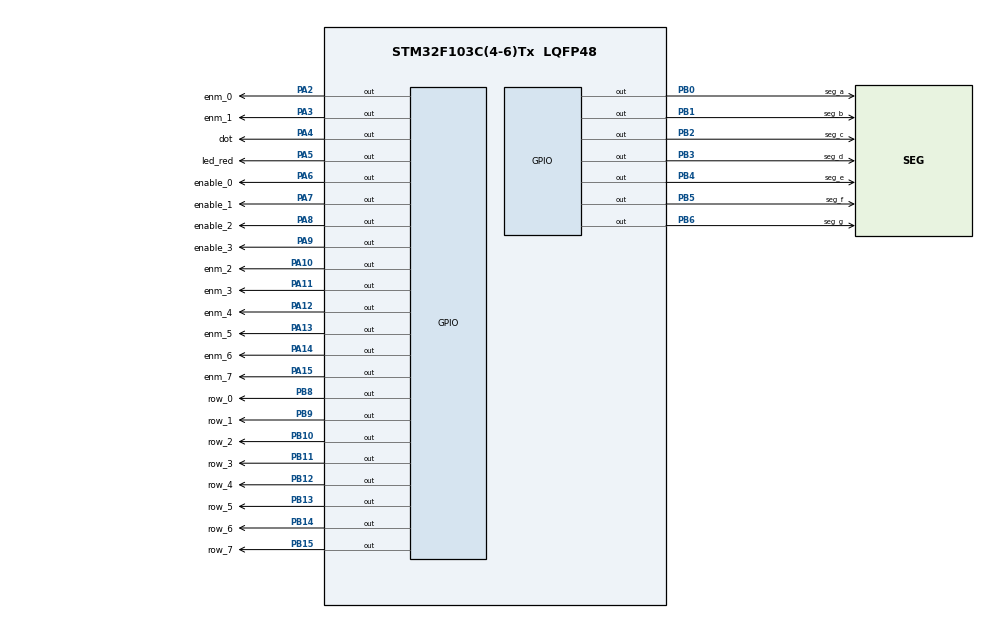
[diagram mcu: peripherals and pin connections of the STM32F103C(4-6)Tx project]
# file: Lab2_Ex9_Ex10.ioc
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Mcu.Family=STM32F1
Mcu.Name=STM32F103C(4-6)Tx
Mcu.Package=LQFP48
NVIC.PriorityGroup=NVIC_PRIORITYGROUP_4
NVIC.TIM2_IRQn=true\:0\:0\:false\:false\:true\:true\:true\:true
PA10.GPIO_Label=enm_2
PA10.Signal=GPIO_Output
PA11.GPIO_Label=enm_3
PA11.Signal=GPIO_Output
PA12.GPIO_Label=enm_4
PA12.Signal=GPIO_Output
PA13.GPIO_Label=enm_5
PA13.Signal=GPIO_Output
PA14.GPIO_Label=enm_6
PA14.Signal=GPIO_Output
PA15.GPIO_Label=enm_7
PA15.Signal=GPIO_Output
PA2.GPIO_Label=enm_0
PA2.Signal=GPIO_Output
PA3.GPIO_Label=enm_1
PA3.Signal=GPIO_Output
PA4.GPIO_Label=dot
PA4.Signal=GPIO_Output
PA5.GPIO_Label=led_red
PA5.Signal=GPIO_Output
PA6.GPIO_Label=enable_0
PA6.Signal=GPIO_Output
PA7.GPIO_Label=enable_1
PA7.Signal=GPIO_Output
PA8.GPIO_Label=enable_2
PA8.Signal=GPIO_Output
PA9.GPIO_Label=enable_3
PA9.Signal=GPIO_Output
PB0.GPIO_Label=seg_a
PB0.Signal=GPIO_Output
PB1.GPIO_Label=seg_b
PB1.Signal=GPIO_Output
PB10.GPIO_Label=row_2
PB10.Signal=GPIO_Output
PB11.GPIO_Label=row_3
PB11.Signal=GPIO_Output
PB12.GPIO_Label=row_4
PB12.Signal=GPIO_Output
PB13.GPIO_Label=row_5
PB13.Signal=GPIO_Output
PB14.GPIO_Label=row_6
PB14.Signal=GPIO_Output
PB15.GPIO_Label=row_7
PB15.Signal=GPIO_Output
PB2.GPIO_Label=seg_c
PB2.Signal=GPIO_Output
PB3.GPIO_Label=seg_d
PB3.Signal=GPIO_Output
PB4.GPIO_Label=seg_e
PB4.Signal=GPIO_Output
PB5.GPIO_Label=seg_f
PB5.Signal=GPIO_Output
PB6.GPIO_Label=seg_g
PB6.Signal=GPIO_Output
PB8.GPIO_Label=row_0
PB8.Signal=GPIO_Output
PB9.GPIO_Label=row_1
PB9.Signal=GPIO_Output
ProjectManager.HeapSize=0x200
ProjectManager.StackSize=0x400
ProjectManager.TargetToolchain=STM32CubeIDE
RCC.APB1Freq_Value=8000000
RCC.APB2Freq_Value=8000000
TIM2.Period=10 - 1
TIM2.Prescaler=8000 - 1
VP_SYS_VS_ND.Mode=No_Debug
VP_TIM2_VS_ClockSourceINT.Mode=Internal
board=custom

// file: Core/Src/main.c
/* USER CODE BEGIN Header */
/**
  ******************************************************************************
  * @file           : main.c
  * @brief          : Main program body
  ******************************************************************************
  * @attention
  *
  * <h2><center>&copy; Copyright (c) 2023 STMicroelectronics.
  * All rights reserved.</center></h2>
  *
  * This software component is licensed by ST under BSD 3-Clause license,
  * the "License"; You may not use this file except in compliance with the
  * License. You may obtain a copy of the License at:
  *                        opensource.org/licenses/BSD-3-Clause
  *
  ******************************************************************************
  */
/* USER CODE END Header */
#include "main.h"

/* USER CODE BEGIN Includes */
#include"software_timer.h"
/* USER CODE END Includes */

TIM_HandleTypeDef htim2;

void SystemClock_Config(void);
static void MX_GPIO_Init(void);
static void MX_TIM2_Init(void);
/* USER CODE BEGIN PFP */

void display7SEG(int num,
		GPIO_TypeDef* a_seg_GPIO_Port, uint16_t a_seg_Pin,
		GPIO_TypeDef* b_seg_GPIO_Port, uint16_t b_seg_Pin,
		GPIO_TypeDef* c_seg_GPIO_Port, uint16_t c_seg_Pin,
		GPIO_TypeDef* d_seg_GPIO_Port, uint16_t d_seg_Pin,
		GPIO_TypeDef* e_seg_GPIO_Port, uint16_t e_seg_Pin,
		GPIO_TypeDef* f_seg_GPIO_Port, uint16_t f_seg_Pin,
		GPIO_TypeDef* g_seg_GPIO_Port, uint16_t g_seg_Pin);

void update7SEG(int num);

void updateClockBuffer(int hour,  int minute, int* led_buffer);

const int MAX_LED_MATRIX = 8;
int index_led_matrix = 0;
uint8_t matrix_buffer[8] = {0x01 , 0x02 , 0x03 , 0x04 , 0x05 , 0x06 , 0x07 , 0x08 };
void updateLEDMatrix (int index);
/* USER CODE END PFP */

int main(void)
{

  /* MCU Configuration--------------------------------------------------------*/

  /* Reset of all peripherals, Initializes the Flash interface and the Systick. */
  HAL_Init();

  /* Configure the system clock */
  SystemClock_Config();

  /* Initialize all configured peripherals */
  MX_GPIO_Init();
  MX_TIM2_Init();
  /* USER CODE BEGIN 2 */
  HAL_TIM_Base_Start_IT(&htim2);
  /* USER CODE END 2 */

  /* Infinite loop */
  /* USER CODE BEGIN WHILE */
  Set_timer(100, 0);
  Set_timer(50, 1);
  Set_timer(10, 2);
  int hour = 24 , minute = 59 , second = 50;
  const int MAX_LED = 4;
  int led_buffer [4] = {1 , 2 , 3 , 4};
  int index_led = 0;
  int index_matrix = 0;
  while (1)
  {
	  if(timer_flag[0] == 1)
	  {
		  Set_timer(100, 0);
		  HAL_GPIO_TogglePin(led_red_GPIO_Port, led_red_Pin);
		  HAL_GPIO_TogglePin(dot_GPIO_Port, dot_Pin);
		  second++;
		  if(second >= 60)
		  {
			  second = 0;
			  minute++;
		  }
		  if(minute >= 60)
		  {
			  minute = 0;
			  hour++;
		  }
		  if(hour >= 24)
		  {
			  hour = 0;
		  }
	  }

	  updateClockBuffer(hour, minute, led_buffer);

	  if(timer_flag[1] == 1)
	  {
		  Set_timer(50, 1);
		  if(index_led >= MAX_LED)
		  {
			  index_led = 0;
		  }
		  switch (index_led)
		  {
			case 0:
				HAL_GPIO_WritePin(enable_0_GPIO_Port, enable_0_Pin, RESET);
				HAL_GPIO_WritePin(enable_1_GPIO_Port, enable_1_Pin, SET);
				HAL_GPIO_WritePin(enable_2_GPIO_Port, enable_2_Pin, SET);
				HAL_GPIO_WritePin(enable_3_GPIO_Port, enable_3_Pin, SET);
				break;
			case 1:
				HAL_GPIO_WritePin(enable_0_GPIO_Port, enable_0_Pin, SET);
				HAL_GPIO_WritePin(enable_1_GPIO_Port, enable_1_Pin, RESET);
				HAL_GPIO_WritePin(enable_2_GPIO_Port, enable_2_Pin, SET);
				HAL_GPIO_WritePin(enable_3_GPIO_Port, enable_3_Pin, SET);
				break;
			case 2:
				HAL_GPIO_WritePin(enable_0_GPIO_Port, enable_0_Pin, SET);
				HAL_GPIO_WritePin(enable_1_GPIO_Port, enable_1_Pin, SET);
				HAL_GPIO_WritePin(enable_2_GPIO_Port, enable_2_Pin, RESET);
				HAL_GPIO_WritePin(enable_3_GPIO_Port, enable_3_Pin, SET);
				break;
			case 3:
				HAL_GPIO_WritePin(enable_0_GPIO_Port, enable_0_Pin, SET);
				HAL_GPIO_WritePin(enable_1_GPIO_Port, enable_1_Pin, SET);
				HAL_GPIO_WritePin(enable_2_GPIO_Port, enable_2_Pin, SET);
				HAL_GPIO_WritePin(enable_3_GPIO_Port, enable_3_Pin, RESET);
				break;
			default:
				break;
		  }

		  display7SEG(led_buffer[index_led],
		  				  seg_a_GPIO_Port, seg_a_Pin,
		  				  seg_b_GPIO_Port, seg_b_Pin,
		  				  seg_c_GPIO_Port, seg_c_Pin,
		  				  seg_d_GPIO_Port, seg_d_Pin,
		  				  seg_e_GPIO_Port, seg_e_Pin,
		  				  seg_f_GPIO_Port, seg_f_Pin,
		  				  seg_g_GPIO_Port, seg_g_Pin);
		  index_led++;
	  }

	  if(timer_flag[2] == 1)
	  {
		  Set_timer(1, 2);
		  updateLEDMatrix(index_matrix);
		  index_matrix++;
		  if(index_matrix >= 8)
		  {
			  index_matrix = 0;
		  }
	  }
//	  updateLEDMatrix(index_matrix);
//	  index_matrix++;
//	  if(index_matrix >= 8)
//	  {
//		  index_matrix = 0;
//	  }
    /* USER CODE END WHILE */

  }
}

void SystemClock_Config(void)
{
  RCC_OscInitTypeDef RCC_OscInitStruct = {0};
  RCC_ClkInitTypeDef RCC_ClkInitStruct = {0};

  /** Initializes the RCC Oscillators according to the specified parameters
  * in the RCC_OscInitTypeDef structure.
  */
  RCC_OscInitStruct.OscillatorType = RCC_OSCILLATORTYPE_HSI;
  RCC_OscInitStruct.HSIState = RCC_HSI_ON;
  RCC_OscInitStruct.HSICalibrationValue = RCC_HSICALIBRATION_DEFAULT;
  RCC_OscInitStruct.PLL.PLLState = RCC_PLL_NONE;
  if (HAL_RCC_OscConfig(&RCC_OscInitStruct) != HAL_OK)
  {
    Error_Handler();
  }

  /** Initializes the CPU, AHB and APB buses clocks
  */
  RCC_ClkInitStruct.ClockType = RCC_CLOCKTYPE_HCLK|RCC_CLOCKTYPE_SYSCLK
                              |RCC_CLOCKTYPE_PCLK1|RCC_CLOCKTYPE_PCLK2;
  RCC_ClkInitStruct.SYSCLKSource = RCC_SYSCLKSOURCE_HSI;
  RCC_ClkInitStruct.AHBCLKDivider = RCC_SYSCLK_DIV1;
  RCC_ClkInitStruct.APB1CLKDivider = RCC_HCLK_DIV1;
  RCC_ClkInitStruct.APB2CLKDivider = RCC_HCLK_DIV1;

  if (HAL_RCC_ClockConfig(&RCC_ClkInitStruct, FLASH_LATENCY_0) != HAL_OK)
  {
    Error_Handler();
  }
}

static void MX_TIM2_Init(void)
{

  TIM_ClockConfigTypeDef sClockSourceConfig = {0};
  TIM_MasterConfigTypeDef sMasterConfig = {0};

  htim2.Instance = TIM2;
  htim2.Init.Prescaler = 8000 - 1;
  htim2.Init.CounterMode = TIM_COUNTERMODE_UP;
  htim2.Init.Period = 10 - 1;
  htim2.Init.ClockDivision = TIM_CLOCKDIVISION_DIV1;
  htim2.Init.AutoReloadPreload = TIM_AUTORELOAD_PRELOAD_DISABLE;
  if (HAL_TIM_Base_Init(&htim2) != HAL_OK)
  {
    Error_Handler();
  }
  sClockSourceConfig.ClockSource = TIM_CLOCKSOURCE_INTERNAL;
  if (HAL_TIM_ConfigClockSource(&htim2, &sClockSourceConfig) != HAL_OK)
  {
    Error_Handler();
  }
  sMasterConfig.MasterOutputTrigger = TIM_TRGO_RESET;
  sMasterConfig.MasterSlaveMode = TIM_MASTERSLAVEMODE_DISABLE;
  if (HAL_TIMEx_MasterConfigSynchronization(&htim2, &sMasterConfig) != HAL_OK)
  {
    Error_Handler();
  }

}

static void MX_GPIO_Init(void)
{
  GPIO_InitTypeDef GPIO_InitStruct = {0};

  /* GPIO Ports Clock Enable */
  __HAL_RCC_GPIOA_CLK_ENABLE();
  __HAL_RCC_GPIOB_CLK_ENABLE();

  /*Configure GPIO pin Output Level */
  HAL_GPIO_WritePin(GPIOA, enm_0_Pin|enm_1_Pin|dot_Pin|led_red_Pin
                          |enable_0_Pin|enable_1_Pin|enable_2_Pin|enable_3_Pin
                          |enm_2_Pin|enm_3_Pin|enm_4_Pin|enm_5_Pin
                          |enm_6_Pin|enm_7_Pin, GPIO_PIN_RESET);

  /*Configure GPIO pin Output Level */
  HAL_GPIO_WritePin(GPIOB, seg_a_Pin|seg_b_Pin|seg_c_Pin|row_2_Pin
                          |row_3_Pin|row_4_Pin|row_5_Pin|row_6_Pin
                          |row_7_Pin|seg_d_Pin|seg_e_Pin|seg_f_Pin
                          |seg_g_Pin|row_0_Pin|row_1_Pin, GPIO_PIN_RESET);

  /*Configure GPIO pins : enm_0_Pin enm_1_Pin dot_Pin led_red_Pin
                           enable_0_Pin enable_1_Pin enable_2_Pin enable_3_Pin
                           enm_2_Pin enm_3_Pin enm_4_Pin enm_5_Pin
                           enm_6_Pin enm_7_Pin */
  GPIO_InitStruct.Pin = enm_0_Pin|enm_1_Pin|dot_Pin|led_red_Pin
                          |enable_0_Pin|enable_1_Pin|enable_2_Pin|enable_3_Pin
                          |enm_2_Pin|enm_3_Pin|enm_4_Pin|enm_5_Pin
                          |enm_6_Pin|enm_7_Pin;
  GPIO_InitStruct.Mode = GPIO_MODE_OUTPUT_PP;
  GPIO_InitStruct.Pull = GPIO_NOPULL;
  GPIO_InitStruct.Speed = GPIO_SPEED_FREQ_LOW;
  HAL_GPIO_Init(GPIOA, &GPIO_InitStruct);

  /*Configure GPIO pins : seg_a_Pin seg_b_Pin seg_c_Pin row_2_Pin
                           row_3_Pin row_4_Pin row_5_Pin row_6_Pin
                           row_7_Pin seg_d_Pin seg_e_Pin seg_f_Pin
                           seg_g_Pin row_0_Pin row_1_Pin */
  GPIO_InitStruct.Pin = seg_a_Pin|seg_b_Pin|seg_c_Pin|row_2_Pin
                          |row_3_Pin|row_4_Pin|row_5_Pin|row_6_Pin
                          |row_7_Pin|seg_d_Pin|seg_e_Pin|seg_f_Pin
                          |seg_g_Pin|row_0_Pin|row_1_Pin;
  GPIO_InitStruct.Mode = GPIO_MODE_OUTPUT_PP;
  GPIO_InitStruct.Pull = GPIO_NOPULL;
  GPIO_InitStruct.Speed = GPIO_SPEED_FREQ_LOW;
  HAL_GPIO_Init(GPIOB, &GPIO_InitStruct);

}

/* USER CODE BEGIN 4 */
void HAL_TIM_PeriodElapsedCallback(TIM_HandleTypeDef *htim)
{
	Run_timer();
}

void display7SEG(int num,
		GPIO_TypeDef* a_seg_GPIO_Port, uint16_t a_seg_Pin,
		GPIO_TypeDef* b_seg_GPIO_Port, uint16_t b_seg_Pin,
		GPIO_TypeDef* c_seg_GPIO_Port, uint16_t c_seg_Pin,
		GPIO_TypeDef* d_seg_GPIO_Port, uint16_t d_seg_Pin,
		GPIO_TypeDef* e_seg_GPIO_Port, uint16_t e_seg_Pin,
		GPIO_TypeDef* f_seg_GPIO_Port, uint16_t f_seg_Pin,
		GPIO_TypeDef* g_seg_GPIO_Port, uint16_t g_seg_Pin)
{
	switch (num) {
		case 0:
			HAL_GPIO_WritePin(a_seg_GPIO_Port, a_seg_Pin, RESET);
			HAL_GPIO_WritePin(b_seg_GPIO_Port, b_seg_Pin, RESET);
			HAL_GPIO_WritePin(c_seg_GPIO_Port, c_seg_Pin, RESET);
			HAL_GPIO_WritePin(d_seg_GPIO_Port, d_seg_Pin, RESET);
			HAL_GPIO_WritePin(e_seg_GPIO_Port, e_seg_Pin, RESET);
			HAL_GPIO_WritePin(f_seg_GPIO_Port, f_seg_Pin, RESET);
			HAL_GPIO_WritePin(g_seg_GPIO_Port, g_seg_Pin, SET);
			break;
		case 1:
			HAL_GPIO_WritePin(a_seg_GPIO_Port, a_seg_Pin, SET);
			HAL_GPIO_WritePin(b_seg_GPIO_Port, b_seg_Pin, RESET);
			HAL_GPIO_WritePin(c_seg_GPIO_Port, c_seg_Pin, RESET);
			HAL_GPIO_WritePin(d_seg_GPIO_Port, d_seg_Pin, SET);
			HAL_GPIO_WritePin(e_seg_GPIO_Port, e_seg_Pin, SET);
			HAL_GPIO_WritePin(f_seg_GPIO_Port, f_seg_Pin, SET);
			HAL_GPIO_WritePin(g_seg_GPIO_Port, g_seg_Pin, SET);
			break;
		case 2:
			HAL_GPIO_WritePin(a_seg_GPIO_Port, a_seg_Pin, RESET);
			HAL_GPIO_WritePin(b_seg_GPIO_Port, b_seg_Pin, RESET);
			HAL_GPIO_WritePin(c_seg_GPIO_Port, c_seg_Pin, SET);
			HAL_GPIO_WritePin(d_seg_GPIO_Port, d_seg_Pin, RESET);
			HAL_GPIO_WritePin(e_seg_GPIO_Port, e_seg_Pin, RESET);
			HAL_GPIO_WritePin(f_seg_GPIO_Port, f_seg_Pin, SET);
			HAL_GPIO_WritePin(g_seg_GPIO_Port, g_seg_Pin, RESET);
			break;
		case 3:
			HAL_GPIO_WritePin(a_seg_GPIO_Port, a_seg_Pin, RESET);
			HAL_GPIO_WritePin(b_seg_GPIO_Port, b_seg_Pin, RESET);
			HAL_GPIO_WritePin(c_seg_GPIO_Port, c_seg_Pin, RESET);
			HAL_GPIO_WritePin(d_seg_GPIO_Port, d_seg_Pin, RESET);
			HAL_GPIO_WritePin(e_seg_GPIO_Port, e_seg_Pin, SET);
			HAL_GPIO_WritePin(f_seg_GPIO_Port, f_seg_Pin, SET);
			HAL_GPIO_WritePin(g_seg_GPIO_Port, g_seg_Pin, RESET);
			break;
		case 4:
			HAL_GPIO_WritePin(a_seg_GPIO_Port, a_seg_Pin, SET);
			HAL_GPIO_WritePin(b_seg_GPIO_Port, b_seg_Pin, RESET);
			HAL_GPIO_WritePin(c_seg_GPIO_Port, c_seg_Pin, RESET);
			HAL_GPIO_WritePin(d_seg_GPIO_Port, d_seg_Pin, SET);
			HAL_GPIO_WritePin(e_seg_GPIO_Port, e_seg_Pin, SET);
			HAL_GPIO_WritePin(f_seg_GPIO_Port, f_seg_Pin, RESET);
			HAL_GPIO_WritePin(g_seg_GPIO_Port, g_seg_Pin, RESET);
			break;
		case 5:
			HAL_GPIO_WritePin(a_seg_GPIO_Port, a_seg_Pin, RESET);
			HAL_GPIO_WritePin(b_seg_GPIO_Port, b_seg_Pin, SET);
			HAL_GPIO_WritePin(c_seg_GPIO_Port, c_seg_Pin, RESET);
			HAL_GPIO_WritePin(d_seg_GPIO_Port, d_seg_Pin, RESET);
			HAL_GPIO_WritePin(e_seg_GPIO_Port, e_seg_Pin, SET);
			HAL_GPIO_WritePin(f_seg_GPIO_Port, f_seg_Pin, RESET);
			HAL_GPIO_WritePin(g_seg_GPIO_Port, g_seg_Pin, RESET);
			break;
		case 6:
			HAL_GPIO_WritePin(a_seg_GPIO_Port, a_seg_Pin, RESET);
			HAL_GPIO_WritePin(b_seg_GPIO_Port, b_seg_Pin, SET);
			HAL_GPIO_WritePin(c_seg_GPIO_Port, c_seg_Pin, RESET);
			HAL_GPIO_WritePin(d_seg_GPIO_Port, d_seg_Pin, RESET);
			HAL_GPIO_WritePin(e_seg_GPIO_Port, e_seg_Pin, RESET);
			HAL_GPIO_WritePin(f_seg_GPIO_Port, f_seg_Pin, RESET);
			HAL_GPIO_WritePin(g_seg_GPIO_Port, g_seg_Pin, RESET);
			break;
		case 7:
			HAL_GPIO_WritePin(a_seg_GPIO_Port, a_seg_Pin, RESET);
			HAL_GPIO_WritePin(b_seg_GPIO_Port, b_seg_Pin, RESET);
			HAL_GPIO_WritePin(c_seg_GPIO_Port, c_seg_Pin, RESET);
			HAL_GPIO_WritePin(d_seg_GPIO_Port, d_seg_Pin, SET);
			HAL_GPIO_WritePin(e_seg_GPIO_Port, e_seg_Pin, SET);
			HAL_GPIO_WritePin(f_seg_GPIO_Port, f_seg_Pin, SET);
			HAL_GPIO_WritePin(g_seg_GPIO_Port, g_seg_Pin, SET);
			break;
		case 8:
			HAL_GPIO_WritePin(a_seg_GPIO_Port, a_seg_Pin, RESET);
			HAL_GPIO_WritePin(b_seg_GPIO_Port, b_seg_Pin, RESET);
			HAL_GPIO_WritePin(c_seg_GPIO_Port, c_seg_Pin, RESET);
			HAL_GPIO_WritePin(d_seg_GPIO_Port, d_seg_Pin, RESET);
			HAL_GPIO_WritePin(e_seg_GPIO_Port, e_seg_Pin, RESET);
			HAL_GPIO_WritePin(f_seg_GPIO_Port, f_seg_Pin, RESET);
			HAL_GPIO_WritePin(g_seg_GPIO_Port, g_seg_Pin, RESET);
			break;
		case 9:
			HAL_GPIO_WritePin(a_seg_GPIO_Port, a_seg_Pin, RESET);
			HAL_GPIO_WritePin(b_seg_GPIO_Port, b_seg_Pin, RESET);
			HAL_GPIO_WritePin(c_seg_GPIO_Port, c_seg_Pin, RESET);
			HAL_GPIO_WritePin(d_seg_GPIO_Port, d_seg_Pin, RESET);
			HAL_GPIO_WritePin(e_seg_GPIO_Port, e_seg_Pin, SET);
			HAL_GPIO_WritePin(f_seg_GPIO_Port, f_seg_Pin, RESET);
			HAL_GPIO_WritePin(g_seg_GPIO_Port, g_seg_Pin, RESET);
			break;
		default:
			break;
	}
}

void update7SEG(int num)
{
	  switch (num)
	  {
		case 0:
			HAL_GPIO_WritePin(enable_0_GPIO_Port, enable_0_Pin, RESET);
			HAL_GPIO_WritePin(enable_1_GPIO_Port, enable_1_Pin, SET);
			HAL_GPIO_WritePin(enable_2_GPIO_Port, enable_2_Pin, SET);
			HAL_GPIO_WritePin(enable_3_GPIO_Port, enable_3_Pin, SET);
			break;
		case 1:
			HAL_GPIO_WritePin(enable_0_GPIO_Port, enable_0_Pin, SET);
			HAL_GPIO_WritePin(enable_1_GPIO_Port, enable_1_Pin, RESET);
			HAL_GPIO_WritePin(enable_2_GPIO_Port, enable_2_Pin, SET);
			HAL_GPIO_WritePin(enable_3_GPIO_Port, enable_3_Pin, SET);
			break;
		case 2:
			HAL_GPIO_WritePin(enable_0_GPIO_Port, enable_0_Pin, SET);
			HAL_GPIO_WritePin(enable_1_GPIO_Port, enable_1_Pin, SET);
			HAL_GPIO_WritePin(enable_2_GPIO_Port, enable_2_Pin, RESET);
			HAL_GPIO_WritePin(enable_3_GPIO_Port, enable_3_Pin, SET);
			break;
		case 3:
			HAL_GPIO_WritePin(enable_0_GPIO_Port, enable_0_Pin, SET);
			HAL_GPIO_WritePin(enable_1_GPIO_Port, enable_1_Pin, SET);
			HAL_GPIO_WritePin(enable_2_GPIO_Port, enable_2_Pin, SET);
			HAL_GPIO_WritePin(enable_3_GPIO_Port, enable_3_Pin, RESET);
			break;
		default:
			break;
	  }
}

void updateClockBuffer(int hour,  int minute, int* led_buffer)
{

	if(hour >= 0 && hour <10)
	{
		led_buffer[0] = 0;
		led_buffer[1] = hour;
	}
	else
	{
		led_buffer[0] = hour/10;
		led_buffer[1] = hour%10;
	}

	if(minute >= 0 && minute <10)
	{
		led_buffer[2] = 0;
		led_buffer[3] = minute;
	}
	else
	{
		led_buffer[2] = minute/10;
		led_buffer[3] = minute%10;
	}
}

void updateLEDMatrix (int index)
{
	switch (index) {
		case 0:
			  HAL_GPIO_WritePin(enm_0_GPIO_Port, enm_0_Pin, SET);
			  HAL_GPIO_WritePin(enm_1_GPIO_Port, enm_1_Pin, SET);
			  HAL_GPIO_WritePin(enm_2_GPIO_Port, enm_2_Pin, SET);
			  HAL_GPIO_WritePin(enm_3_GPIO_Port, enm_3_Pin, SET);
			  HAL_GPIO_WritePin(enm_4_GPIO_Port, enm_4_Pin, SET);
			  HAL_GPIO_WritePin(enm_5_GPIO_Port, enm_5_Pin, SET);
			  HAL_GPIO_WritePin(enm_6_GPIO_Port, enm_6_Pin, SET);
			  HAL_GPIO_WritePin(enm_7_GPIO_Port, enm_7_Pin, SET);

			  HAL_GPIO_WritePin(row_0_GPIO_Port, row_0_Pin, RESET);
			  HAL_GPIO_WritePin(row_1_GPIO_Port, row_1_Pin, RESET);
			  HAL_GPIO_WritePin(row_2_GPIO_Port, row_2_Pin, RESET);
			  HAL_GPIO_WritePin(row_3_GPIO_Port, row_3_Pin, RESET);
			  HAL_GPIO_WritePin(row_4_GPIO_Port, row_4_Pin, RESET);
			  HAL_GPIO_WritePin(row_5_GPIO_Port, row_5_Pin, RESET);
			  HAL_GPIO_WritePin(row_6_GPIO_Port, row_6_Pin, RESET);
			  HAL_GPIO_WritePin(row_7_GPIO_Port, row_7_Pin, RESET);
			break;
		case 1:
			  HAL_GPIO_WritePin(enm_0_GPIO_Port, enm_0_Pin, SET);
			  HAL_GPIO_WritePin(enm_1_GPIO_Port, enm_1_Pin, RESET);
			  HAL_GPIO_WritePin(enm_2_GPIO_Port, enm_2_Pin, SET);
			  HAL_GPIO_WritePin(enm_3_GPIO_Port, enm_3_Pin, SET);
			  HAL_GPIO_WritePin(enm_4_GPIO_Port, enm_4_Pin, SET);
			  HAL_GPIO_WritePin(enm_5_GPIO_Port, enm_5_Pin, SET);
			  HAL_GPIO_WritePin(enm_6_GPIO_Port, enm_6_Pin, SET);
			  HAL_GPIO_WritePin(enm_7_GPIO_Port, enm_7_Pin, SET);

			  HAL_GPIO_WritePin(row_0_GPIO_Port, row_0_Pin, RESET);
			  HAL_GPIO_WritePin(row_1_GPIO_Port, row_1_Pin, RESET);
			  HAL_GPIO_WritePin(row_2_GPIO_Port, row_2_Pin, RESET);
			  HAL_GPIO_WritePin(row_3_GPIO_Port, row_3_Pin, RESET);
			  HAL_GPIO_WritePin(row_4_GPIO_Port, row_4_Pin, RESET);
			  HAL_GPIO_WritePin(row_5_GPIO_Port, row_5_Pin, RESET);
			  HAL_GPIO_WritePin(row_6_GPIO_Port, row_6_Pin, RESET);
			  HAL_GPIO_WritePin(row_7_GPIO_Port, row_7_Pin, RESET);
			break;
		case 2:
			  HAL_GPIO_WritePin(enm_0_GPIO_Port, enm_0_Pin, SET);
			  HAL_GPIO_WritePin(enm_1_GPIO_Port, enm_1_Pin, SET);
			  HAL_GPIO_WritePin(enm_2_GPIO_Port, enm_2_Pin, RESET);
			  HAL_GPIO_WritePin(enm_3_GPIO_Port, enm_3_Pin, SET);
			  HAL_GPIO_WritePin(enm_4_GPIO_Port, enm_4_Pin, SET);
			  HAL_GPIO_WritePin(enm_5_GPIO_Port, enm_5_Pin, SET);
			  HAL_GPIO_WritePin(enm_6_GPIO_Port, enm_6_Pin, SET);
			  HAL_GPIO_WritePin(enm_7_GPIO_Port, enm_7_Pin, SET);

			  HAL_GPIO_WritePin(row_0_GPIO_Port, row_0_Pin, RESET);
			  HAL_GPIO_WritePin(row_1_GPIO_Port, row_1_Pin, SET);
			  HAL_GPIO_WritePin(row_2_GPIO_Port, row_2_Pin, SET);
			  HAL_GPIO_WritePin(row_3_GPIO_Port, row_3_Pin, SET);
			  HAL_GPIO_WritePin(row_4_GPIO_Port, row_4_Pin, RESET);
			  HAL_GPIO_WritePin(row_5_GPIO_Port, row_5_Pin, SET);
			  HAL_GPIO_WritePin(row_6_GPIO_Port, row_6_Pin, SET);
			  HAL_GPIO_WritePin(row_7_GPIO_Port, row_7_Pin, SET);
			break;
		case 3:
			  HAL_GPIO_WritePin(enm_0_GPIO_Port, enm_0_Pin, SET);
			  HAL_GPIO_WritePin(enm_1_GPIO_Port, enm_1_Pin, SET);
			  HAL_GPIO_WritePin(enm_2_GPIO_Port, enm_2_Pin, SET);
			  HAL_GPIO_WritePin(enm_3_GPIO_Port, enm_3_Pin, RESET);
			  HAL_GPIO_WritePin(enm_4_GPIO_Port, enm_4_Pin, SET);
			  HAL_GPIO_WritePin(enm_5_GPIO_Port, enm_5_Pin, SET);
			  HAL_GPIO_WritePin(enm_6_GPIO_Port, enm_6_Pin, SET);
			  HAL_GPIO_WritePin(enm_7_GPIO_Port, enm_7_Pin, SET);

			  HAL_GPIO_WritePin(row_0_GPIO_Port, row_0_Pin, RESET);
			  HAL_GPIO_WritePin(row_1_GPIO_Port, row_1_Pin, SET);
			  HAL_GPIO_WritePin(row_2_GPIO_Port, row_2_Pin, SET);
			  HAL_GPIO_WritePin(row_3_GPIO_Port, row_3_Pin, SET);
			  HAL_GPIO_WritePin(row_4_GPIO_Port, row_4_Pin, RESET);
			  HAL_GPIO_WritePin(row_5_GPIO_Port, row_5_Pin, SET);
			  HAL_GPIO_WritePin(row_6_GPIO_Port, row_6_Pin, SET);
			  HAL_GPIO_WritePin(row_7_GPIO_Port, row_7_Pin, SET);
			break;
		case 4:
			  HAL_GPIO_WritePin(enm_0_GPIO_Port, enm_0_Pin, SET);
			  HAL_GPIO_WritePin(enm_1_GPIO_Port, enm_1_Pin, SET);
			  HAL_GPIO_WritePin(enm_2_GPIO_Port, enm_2_Pin, SET);
			  HAL_GPIO_WritePin(enm_3_GPIO_Port, enm_3_Pin, SET);
			  HAL_GPIO_WritePin(enm_4_GPIO_Port, enm_4_Pin, RESET);
			  HAL_GPIO_WritePin(enm_5_GPIO_Port, enm_5_Pin, SET);
			  HAL_GPIO_WritePin(enm_6_GPIO_Port, enm_6_Pin, SET);
			  HAL_GPIO_WritePin(enm_7_GPIO_Port, enm_7_Pin, SET);

			  HAL_GPIO_WritePin(row_0_GPIO_Port, row_0_Pin, RESET);
			  HAL_GPIO_WritePin(row_1_GPIO_Port, row_1_Pin, SET);
			  HAL_GPIO_WritePin(row_2_GPIO_Port, row_2_Pin, SET);
			  HAL_GPIO_WritePin(row_3_GPIO_Port, row_3_Pin, SET);
			  HAL_GPIO_WritePin(row_4_GPIO_Port, row_4_Pin, RESET);
			  HAL_GPIO_WritePin(row_5_GPIO_Port, row_5_Pin, SET);
			  HAL_GPIO_WritePin(row_6_GPIO_Port, row_6_Pin, SET);
			  HAL_GPIO_WritePin(row_7_GPIO_Port, row_7_Pin, SET);
			break;
		case 5:
			  HAL_GPIO_WritePin(enm_0_GPIO_Port, enm_0_Pin, SET);
			  HAL_GPIO_WritePin(enm_1_GPIO_Port, enm_1_Pin, SET);
			  HAL_GPIO_WritePin(enm_2_GPIO_Port, enm_2_Pin, SET);
			  HAL_GPIO_WritePin(enm_3_GPIO_Port, enm_3_Pin, SET);
			  HAL_GPIO_WritePin(enm_4_GPIO_Port, enm_4_Pin, SET);
			  HAL_GPIO_WritePin(enm_5_GPIO_Port, enm_5_Pin, RESET);
			  HAL_GPIO_WritePin(enm_6_GPIO_Port, enm_6_Pin, SET);
			  HAL_GPIO_WritePin(enm_7_GPIO_Port, enm_7_Pin, SET);

			  HAL_GPIO_WritePin(row_0_GPIO_Port, row_0_Pin, RESET);
			  HAL_GPIO_WritePin(row_1_GPIO_Port, row_1_Pin, SET);
			  HAL_GPIO_WritePin(row_2_GPIO_Port, row_2_Pin, SET);
			  HAL_GPIO_WritePin(row_3_GPIO_Port, row_3_Pin, SET);
			  HAL_GPIO_WritePin(row_4_GPIO_Port, row_4_Pin, RESET);
			  HAL_GPIO_WritePin(row_5_GPIO_Port, row_5_Pin, SET);
			  HAL_GPIO_WritePin(row_6_GPIO_Port, row_6_Pin, SET);
			  HAL_GPIO_WritePin(row_7_GPIO_Port, row_7_Pin, SET);
			break;
		case 6:
			  HAL_GPIO_WritePin(enm_0_GPIO_Port, enm_0_Pin, SET);
			  HAL_GPIO_WritePin(enm_1_GPIO_Port, enm_1_Pin, SET);
			  HAL_GPIO_WritePin(enm_2_GPIO_Port, enm_2_Pin, SET);
			  HAL_GPIO_WritePin(enm_3_GPIO_Port, enm_3_Pin, SET);
			  HAL_GPIO_WritePin(enm_4_GPIO_Port, enm_4_Pin, SET);
			  HAL_GPIO_WritePin(enm_5_GPIO_Port, enm_5_Pin, SET);
			  HAL_GPIO_WritePin(enm_6_GPIO_Port, enm_6_Pin, RESET);
			  HAL_GPIO_WritePin(enm_7_GPIO_Port, enm_7_Pin, SET);

			  HAL_GPIO_WritePin(row_0_GPIO_Port, row_0_Pin, RESET);
			  HAL_GPIO_WritePin(row_1_GPIO_Port, row_1_Pin, RESET);
			  HAL_GPIO_WritePin(row_2_GPIO_Port, row_2_Pin, RESET);
			  HAL_GPIO_WritePin(row_3_GPIO_Port, row_3_Pin, RESET);
			  HAL_GPIO_WritePin(row_4_GPIO_Port, row_4_Pin, RESET);
			  HAL_GPIO_WritePin(row_5_GPIO_Port, row_5_Pin, RESET);
			  HAL_GPIO_WritePin(row_6_GPIO_Port, row_6_Pin, RESET);
			  HAL_GPIO_WritePin(row_7_GPIO_Port, row_7_Pin, RESET);
			break;
		case 7:
			  HAL_GPIO_WritePin(enm_0_GPIO_Port, enm_0_Pin, SET);
			  HAL_GPIO_WritePin(enm_1_GPIO_Port, enm_1_Pin, SET);
			  HAL_GPIO_WritePin(enm_2_GPIO_Port, enm_2_Pin, SET);
			  HAL_GPIO_WritePin(enm_3_GPIO_Port, enm_3_Pin, SET);
			  HAL_GPIO_WritePin(enm_4_GPIO_Port, enm_4_Pin, SET);
			  HAL_GPIO_WritePin(enm_5_GPIO_Port, enm_5_Pin, SET);
			  HAL_GPIO_WritePin(enm_6_GPIO_Port, enm_6_Pin, SET);
			  HAL_GPIO_WritePin(enm_7_GPIO_Port, enm_7_Pin, SET);

			  HAL_GPIO_WritePin(row_0_GPIO_Port, row_0_Pin, RESET);
			  HAL_GPIO_WritePin(row_1_GPIO_Port, row_1_Pin, RESET);
			  HAL_GPIO_WritePin(row_2_GPIO_Port, row_2_Pin, RESET);
			  HAL_GPIO_WritePin(row_3_GPIO_Port, row_3_Pin, RESET);
			  HAL_GPIO_WritePin(row_4_GPIO_Port, row_4_Pin, RESET);
			  HAL_GPIO_WritePin(row_5_GPIO_Port, row_5_Pin, RESET);
			  HAL_GPIO_WritePin(row_6_GPIO_Port, row_6_Pin, RESET);
			  HAL_GPIO_WritePin(row_7_GPIO_Port, row_7_Pin, RESET);
			break;
		default:
			break;
	}
}

/* USER CODE END 4 */

void Error_Handler(void)
{
  __disable_irq();
  while (1)
  {
  }
}
